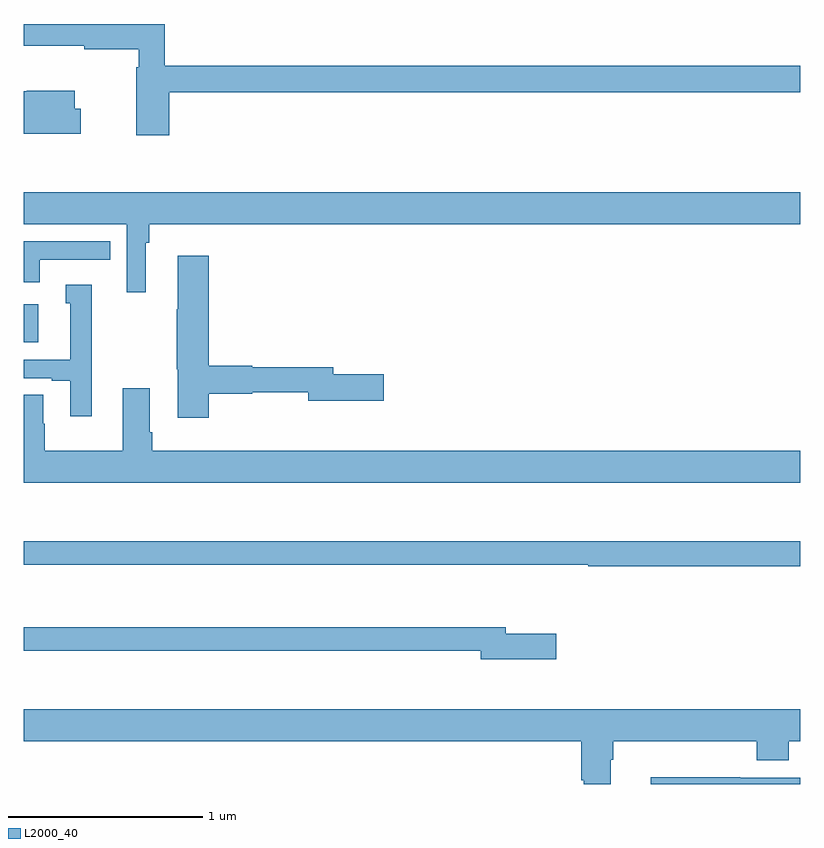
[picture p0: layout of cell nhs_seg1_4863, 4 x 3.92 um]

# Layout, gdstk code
import gdstk
lib = gdstk.Library(unit=1e-6, precision=1e-09)
def R(c, l, rs):  # rectangles x0, y0, x1, y1
    for r in rs: c.add(gdstk.rectangle(r[:2], r[2:], *l))
def P(c, l, *ps):  # polygons
    for p in ps: c.add(gdstk.Polygon(p, *l))
L2000_40 = (2000, 40)

nhs_seg1_4863 = lib.new_cell('nhs_seg1_4863')
R(nhs_seg1_4863, L2000_40, [(375,532.475,375.073,532.672)])
P(nhs_seg1_4863, L2000_40, [(375.749,533.764),(379,533.764),(379,533.9),(375.725,533.9),(375.725,534.115),(375,534.115),(375,534.004),(375.312,534.004),(375.312,533.986),(375.593,533.986),(375.593,533.893),(375.578,533.893),(375.578,533.541),(375.749,533.541)],
  [(375.292,533.679),(375.262,533.679),(375.262,533.77),(375.016,533.77),(375.016,533.769),(375,533.769),(375,533.549),(375.292,533.549)],
  [(375.628,532.988),(375.647,532.988),(375.647,533.084),(379,533.084),(379,533.248),(375,533.248),(375,533.084),(375.531,533.084),(375.531,532.734),(375.628,532.734)],
  [(375.082,532.899),(375.446,532.899),(375.446,532.995),(375,532.995),(375,532.784),(375.082,532.784)],
  [(375.953,532.21),(376.176,532.21),(376.176,532.218),(376.466,532.218),(376.466,532.175),(376.855,532.175),(376.855,532.31),(376.594,532.31),(376.594,532.346),(376.176,532.346),(376.176,532.354),(375.953,532.354),(375.953,532.921),(375.794,532.921),(375.794,532.646),(375.787,532.646),(375.787,532.335),(375.794,532.335),(375.794,532.086),(375.953,532.086)],
  [(375.349,532.771),(375.215,532.771),(375.215,532.677),(375.239,532.677),(375.239,532.386),(375,532.386),(375,532.29),(375.143,532.29),(375.143,532.278),(375.239,532.278),(375.239,532.095),(375.349,532.095)],
  [(379,531.916),(375.662,531.916),(375.662,532.012),(375.649,532.012),(375.649,532.237),(375.509,532.237),(375.509,531.916),(375.108,531.916),(375.108,532.055),(375.1,532.055),(375.1,532.205),(375,532.205),(375,531.752),(379,531.752)],
  [(379,531.451),(375,531.451),(375,531.33),(377.908,531.33),(377.908,531.322),(379,531.322)],
  [(377.743,530.973),(377.482,530.973),(377.482,531.007),(375,531.007),(375,530.886),(377.354,530.886),(377.354,530.843),(377.743,530.843)],
  [(378.025,530.324),(378.038,530.324),(378.038,530.42),(378.776,530.42),(378.776,530.321),(378.941,530.321),(378.941,530.42),(379,530.42),(379,530.584),(375,530.584),(375,530.42),(377.873,530.42),(377.873,530.218),(377.885,530.218),(377.885,530.199),(378.025,530.199)],
  [(379,530.232),(378.692,530.232),(378.692,530.234),(378.23,530.234),(378.23,530.199),(379,530.199)])

lib.write_gds('nhs_seg1_4863.gds')
